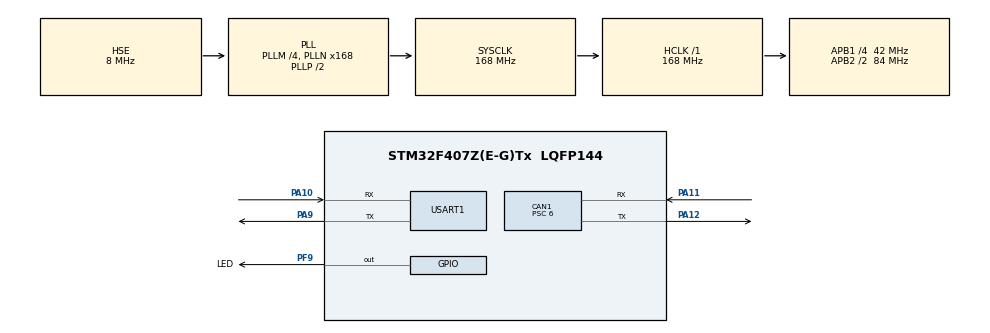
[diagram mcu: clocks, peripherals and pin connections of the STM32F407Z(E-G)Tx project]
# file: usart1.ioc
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CAN1.BS1=CAN_BS1_7TQ
CAN1.BS2=CAN_BS2_6TQ
CAN1.CalculateBaudRate=500000
CAN1.CalculateTimeBit=1999.99
CAN1.CalculateTimeQuantum=142.85714285714286
CAN1.Mode=CAN_MODE_LOOPBACK
CAN1.Prescaler=6
FREERTOS.Tasks01=defaultTask,0,128,StartDefaultTask,Default,NULL,Dynamic,NULL,NULL;myTask02,-3,128,DataSend_Task,Default,NULL,Dynamic,NULL,NULL;myTask03,-3,128,DataRecv_Task,Default,NULL,Dynamic,NULL,NULL
Mcu.Family=STM32F4
Mcu.Name=STM32F407Z(E-G)Tx
Mcu.Package=LQFP144
NVIC.CAN1_RX0_IRQn=true\:5\:0\:false\:false\:true\:true\:true\:true
NVIC.PriorityGroup=NVIC_PRIORITYGROUP_4
NVIC.TIM1_UP_TIM10_IRQn=true\:0\:0\:false\:false\:true\:false\:false\:true
NVIC.TimeBase=TIM1_UP_TIM10_IRQn
NVIC.TimeBaseIP=TIM1
NVIC.USART1_IRQn=true\:5\:0\:false\:false\:true\:true\:true\:true
PA10.Mode=Asynchronous
PA10.Signal=USART1_RX
PA11.Mode=CAN_Activate
PA11.Signal=CAN1_RX
PA12.Mode=CAN_Activate
PA12.Signal=CAN1_TX
PA13.Mode=Serial_Wire
PA13.Signal=SYS_JTMS-SWDIO
PA14.Mode=Serial_Wire
PA14.Signal=SYS_JTCK-SWCLK
PA9.Mode=Asynchronous
PA9.Signal=USART1_TX
PF9.GPIO_Label=LED
PF9.Signal=GPIO_Output
PH0-OSC_IN.Mode=HSE-External-Oscillator
PH0-OSC_IN.Signal=RCC_OSC_IN
PH1-OSC_OUT.Mode=HSE-External-Oscillator
PH1-OSC_OUT.Signal=RCC_OSC_OUT
ProjectManager.HeapSize=0x200
ProjectManager.StackSize=0x400
ProjectManager.TargetToolchain=MDK-ARM V5
RCC.48MHZClocksFreq_Value=84000000
RCC.AHBFreq_Value=168000000
RCC.APB1CLKDivider=RCC_HCLK_DIV4
RCC.APB1Freq_Value=42000000
RCC.APB1TimFreq_Value=84000000
RCC.APB2CLKDivider=RCC_HCLK_DIV2
RCC.APB2Freq_Value=84000000
RCC.APB2TimFreq_Value=168000000
RCC.CortexFreq_Value=168000000
RCC.HCLKFreq_Value=168000000
RCC.HSE_VALUE=8000000
RCC.HSI_VALUE=16000000
RCC.LSE_VALUE=32768
RCC.PLLM=4
RCC.PLLN=168
RCC.PLLSourceVirtual=RCC_PLLSOURCE_HSE
RCC.SYSCLKFreq_VALUE=168000000
RCC.SYSCLKSource=RCC_SYSCLKSOURCE_PLLCLK
RCC.VCOOutputFreq_Value=336000000
USART1.VirtualMode=VM_ASYNC
VP_FREERTOS_VS_CMSIS_V1.Mode=CMSIS_V1
VP_SYS_VS_tim1.Mode=TIM1
board=custom

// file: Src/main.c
/* USER CODE BEGIN Header */
/**
  ******************************************************************************
  * @file           : main.c
  * @brief          : Main program body
  ******************************************************************************
  * @attention
  *
  * <h2><center>&copy; Copyright (c) 2021 STMicroelectronics.
  * All rights reserved.</center></h2>
  *
  * This software component is licensed by ST under BSD 3-Clause license,
  * the "License"; You may not use this file except in compliance with the
  * License. You may obtain a copy of the License at:
  *                        opensource.org/licenses/BSD-3-Clause
  *
  ******************************************************************************
  */
/* USER CODE END Header */
#include "main.h"
#include "cmsis_os.h"
#include "can.h"
#include "usart.h"
#include "gpio.h"

void SystemClock_Config(void);
void MX_FREERTOS_Init(void);

int main(void)
{
  /* USER CODE BEGIN 1 */
  CAN_TxHeaderTypeDef TxMessage;
	CAN_RxHeaderTypeDef RxMessage;
	uint8_t txdata[8] = {0x38,0x36,0x34,0x32,0x31,0x33,0x35,0x37};
	uint8_t rxdata[8] = {0};
	uint32_t pTxMailbox = 0;

  TxMessage.StdId = 0x123;
	TxMessage.ExtId = 0x123;
	TxMessage.IDE = 0;
	TxMessage.RTR = 0;
	TxMessage.DLC = 8;

	RxMessage.StdId = 0x321;
	RxMessage.ExtId = 0x321;
	RxMessage.IDE = 0;
	RxMessage.RTR = 0;
	RxMessage.DLC = 8;
  /* USER CODE END 1 */

  /* MCU Configuration--------------------------------------------------------*/

  /* Reset of all peripherals, Initializes the Flash interface and the Systick. */
  HAL_Init();

  /* Configure the system clock */
  SystemClock_Config();

  /* Initialize all configured peripherals */
  MX_GPIO_Init();
  MX_USART1_UART_Init();
  MX_CAN1_Init();
  /* USER CODE BEGIN 2 */
	HAL_UART_MspInit(&huart1);

	MX_CAN1_Init();

	HAL_CAN_MspInit(&hcan1);

	HAL_CAN_Start(&hcan1);
  /* USER CODE END 2 */

  /* Call init function for freertos objects (in freertos.c) */
  MX_FREERTOS_Init();
  /* Start scheduler */
  osKernelStart();

  /* We should never get here as control is now taken by the scheduler */
  /* Infinite loop */
  while (1)
  {

    /* USER CODE BEGIN 3 */
    HAL_CAN_AddTxMessage(&hcan1,&TxMessage,txdata,&pTxMailbox);
		HAL_CAN_GetRxMessage(&hcan1,CAN_RX_FIFO0,&RxMessage,rxdata);

		/* usart 发送接受数据的数组 */
		// 上位机接受到的数字
		HAL_UART_Transmit(&huart1,rxdata,8,1000);
		printf("\r\n");

		// printf 通过在usart.c中重定向
		printf("CAN Rxdata: %02X,%02X,%02X,%02X,%02X,%02X,%02X,%02X\r\n",rxdata[0],rxdata[1],rxdata[2],rxdata[3],rxdata[4],rxdata[5],rxdata[6],rxdata[7]);

		HAL_Delay(500);
  }
  /* USER CODE END 3 */
}

void SystemClock_Config(void)
{
  RCC_OscInitTypeDef RCC_OscInitStruct = {0};
  RCC_ClkInitTypeDef RCC_ClkInitStruct = {0};

  /** Configure the main internal regulator output voltage
  */
  __HAL_RCC_PWR_CLK_ENABLE();
  __HAL_PWR_VOLTAGESCALING_CONFIG(PWR_REGULATOR_VOLTAGE_SCALE1);
  /** Initializes the RCC Oscillators according to the specified parameters
  * in the RCC_OscInitTypeDef structure.
  */
  RCC_OscInitStruct.OscillatorType = RCC_OSCILLATORTYPE_HSE;
  RCC_OscInitStruct.HSEState = RCC_HSE_ON;
  RCC_OscInitStruct.PLL.PLLState = RCC_PLL_ON;
  RCC_OscInitStruct.PLL.PLLSource = RCC_PLLSOURCE_HSE;
  RCC_OscInitStruct.PLL.PLLM = 4;
  RCC_OscInitStruct.PLL.PLLN = 168;
  RCC_OscInitStruct.PLL.PLLP = RCC_PLLP_DIV2;
  RCC_OscInitStruct.PLL.PLLQ = 4;
  if (HAL_RCC_OscConfig(&RCC_OscInitStruct) != HAL_OK)
  {
    Error_Handler();
  }
  /** Initializes the CPU, AHB and APB buses clocks
  */
  RCC_ClkInitStruct.ClockType = RCC_CLOCKTYPE_HCLK|RCC_CLOCKTYPE_SYSCLK
                              |RCC_CLOCKTYPE_PCLK1|RCC_CLOCKTYPE_PCLK2;
  RCC_ClkInitStruct.SYSCLKSource = RCC_SYSCLKSOURCE_PLLCLK;
  RCC_ClkInitStruct.AHBCLKDivider = RCC_SYSCLK_DIV1;
  RCC_ClkInitStruct.APB1CLKDivider = RCC_HCLK_DIV4;
  RCC_ClkInitStruct.APB2CLKDivider = RCC_HCLK_DIV2;

  if (HAL_RCC_ClockConfig(&RCC_ClkInitStruct, FLASH_LATENCY_5) != HAL_OK)
  {
    Error_Handler();
  }
}

/* USER CODE BEGIN 4 */
/*
void HAL_UART_RxCpltCallback(UART_HandleTypeDef *huart)
{
    // 判断是哪个串口触发的中断
    if(huart ->Instance == USART1)
    {
        //将接收到的数据发送
        HAL_UART_Transmit_IT(huart, (uint8_t*)recv_buf, 13);
        //重新使能串口接收中断
        HAL_UART_Receive_IT(huart, (uint8_t*)recv_buf, 13);
    }
}

*/

/* USER CODE END 4 */

 /**
  * @brief  Period elapsed callback in non blocking mode
  * @note   This function is called  when TIM1 interrupt took place, inside
  * HAL_TIM_IRQHandler(). It makes a direct call to HAL_IncTick() to increment
  * a global variable "uwTick" used as application time base.
  * @param  htim : TIM handle
  * @retval None
  */
void HAL_TIM_PeriodElapsedCallback(TIM_HandleTypeDef *htim)
{
  if (htim->Instance == TIM1) {
    HAL_IncTick();
  }
}

void Error_Handler(void)
{
  __disable_irq();
  while (1)
  {
  }
}

/************************ (C) COPYRIGHT STMicroelectronics *****END OF FILE****/

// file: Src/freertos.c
/* USER CODE BEGIN Header */
/**
  ******************************************************************************
  * File Name          : freertos.c
  * Description        : Code for freertos applications
  ******************************************************************************
  * @attention
  *
  * <h2><center>&copy; Copyright (c) 2021 STMicroelectronics.
  * All rights reserved.</center></h2>
  *
  * This software component is licensed by ST under Ultimate Liberty license
  * SLA0044, the "License"; You may not use this file except in compliance with
  * the License. You may obtain a copy of the License at:
  *                             www.st.com/SLA0044
  *
  ******************************************************************************
  */
/* USER CODE END Header */

#include "FreeRTOS.h"
#include "task.h"
#include "main.h"
#include "cmsis_os.h"

/* USER CODE BEGIN Includes */
#include "usart.h"
#include "pid.h"
/* USER CODE END Includes */

osThreadId defaultTaskHandle;
osThreadId myTask02Handle;
osThreadId myTask03Handle;

/* USER CODE BEGIN FunctionPrototypes */
QueueHandle_t DataQueue;
/* USER CODE END FunctionPrototypes */

void StartDefaultTask(void const * argument);
void DataSend_Task(void const * argument);
void DataRecv_Task(void const * argument);

void MX_FREERTOS_Init(void); /* (MISRA C 2004 rule 8.1) */

/* GetIdleTaskMemory prototype (linked to static allocation support) */
void vApplicationGetIdleTaskMemory( StaticTask_t **ppxIdleTaskTCBBuffer, StackType_t **ppxIdleTaskStackBuffer, uint32_t *pulIdleTaskStackSize );

/* USER CODE BEGIN GET_IDLE_TASK_MEMORY */
static StaticTask_t xIdleTaskTCBBuffer;
static StackType_t xIdleStack[configMINIMAL_STACK_SIZE];

void vApplicationGetIdleTaskMemory( StaticTask_t **ppxIdleTaskTCBBuffer, StackType_t **ppxIdleTaskStackBuffer, uint32_t *pulIdleTaskStackSize )
{
  *ppxIdleTaskTCBBuffer = &xIdleTaskTCBBuffer;
  *ppxIdleTaskStackBuffer = &xIdleStack[0];
  *pulIdleTaskStackSize = configMINIMAL_STACK_SIZE;
  /* place for user code */
}
/* USER CODE END GET_IDLE_TASK_MEMORY */

void MX_FREERTOS_Init(void) {

  /* USER CODE BEGIN RTOS_QUEUES */
  /* add queues, ... */
	DataQueue = xQueueCreate(2,9);
  /* USER CODE END RTOS_QUEUES */

  /* Create the thread(s) */
  /* definition and creation of defaultTask */
  osThreadDef(defaultTask, StartDefaultTask, osPriorityNormal, 0, 128);
  defaultTaskHandle = osThreadCreate(osThread(defaultTask), NULL);

  /* definition and creation of myTask02 */
  osThreadDef(myTask02, DataSend_Task, osPriorityIdle, 0, 128);
  myTask02Handle = osThreadCreate(osThread(myTask02), NULL);

  /* definition and creation of myTask03 */
  osThreadDef(myTask03, DataRecv_Task, osPriorityIdle, 0, 128);
  myTask03Handle = osThreadCreate(osThread(myTask03), NULL);

}

void StartDefaultTask(void const * argument)
{
  /* USER CODE BEGIN StartDefaultTask */

	PID_Init();

  /* Infinite loop */
  for(;;)
  {
		float speed = PID_Calculate(150.0);
		printf("pid: %f\r\n",speed);
		//printf("\r\n%d\r\n",i);
		//i = i + 1;
    osDelay(200);
  }
  /* USER CODE END StartDefaultTask */
}

void DataSend_Task(void const * argument)
{
  /* USER CODE BEGIN DataSend_Task */
	//uint8_t txdata[8] = {0x31,0x32,0x33,0x34,0x35,0x36,0x37,0x38};
	uint8_t len;
  uint16_t times=0;
	//uint8_t i = 0;
  /* Infinite loop */
  for(;;)
  {
		/*
		HAL_GPIO_WritePin(LED_GPIO_Port,LED_Pin,0);
    osDelay(500);
		HAL_GPIO_WritePin(LED_GPIO_Port,LED_Pin,1);
    osDelay(500);
		*/
		/* 判断是否接收成功 */

		//printf("%d\r\n",i);
		//i = i + 1;
		//osDelay(500);

    if(USART_RX_STA&0x8000)
			{
			len=USART_RX_STA&0x3fff;//得到此次接收到的数据长度
			//printf("串口接受发送的消息为:\r\n");
			//HAL_UART_Transmit(&huart1,(uint8_t*)USART_RX_BUF,len,1000);	//发送接收到的数据
			while(__HAL_UART_GET_FLAG(&huart1,UART_FLAG_TC)!=SET);		//等待发送结束
			//printf("\r\n\r\n");//插入换行
			USART_RX_STA=0;
			}
			else
			{
			times++;
			}

		xQueueSend(DataQueue,USART_RX_BUF,10);
		memset(USART_RX_BUF,0,200);
	  osDelay(1000);
  }
  /* USER CODE END DataSend_Task */
}

void DataRecv_Task(void const * argument)
{
  /* USER CODE BEGIN DataRecv_Task */
	uint8_t rxdata[200] = {0};
  /* Infinite loop */
  for(;;)
  {

		HAL_GPIO_WritePin(LED_GPIO_Port,LED_Pin,0);
    osDelay(500);
		HAL_GPIO_WritePin(LED_GPIO_Port,LED_Pin,1);
    osDelay(500);

		if(pdPASS == xQueueReceive(DataQueue,rxdata,10))
		{
			  if(rxdata[0] != 0x00)
				{
			  printf("\r\n从消息队列中接收到的消息为:\r\n");
		    HAL_UART_Transmit(&huart1,rxdata,sizeof(rxdata),1000);
        printf("\r\n");
				}
		}

		//osDelay(1000);
  }
  /* USER CODE END DataRecv_Task */
}

/************************ (C) COPYRIGHT STMicroelectronics *****END OF FILE****/
